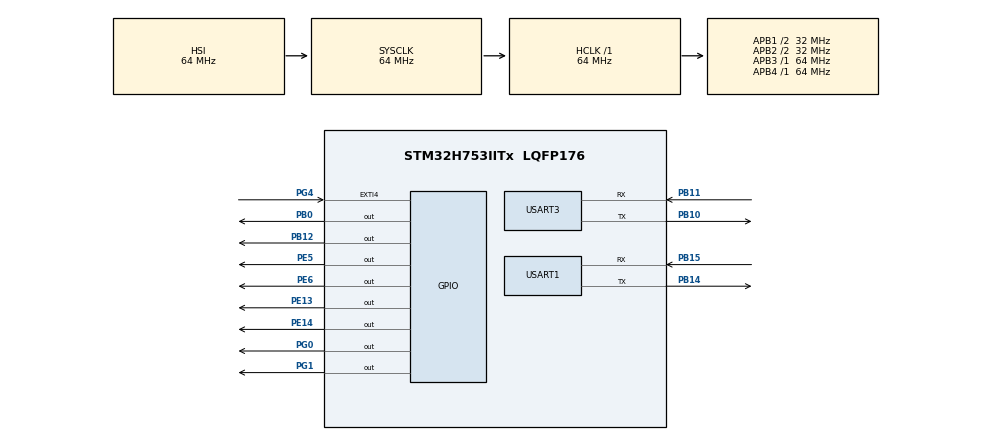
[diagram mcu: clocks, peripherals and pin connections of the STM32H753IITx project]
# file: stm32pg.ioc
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Mcu.Family=STM32H7
Mcu.Name=STM32H753IITx
Mcu.Package=LQFP176
NVIC.EXTI4_IRQn=true\:0\:0\:false\:false\:true\:true\:true\:true
NVIC.PriorityGroup=NVIC_PRIORITYGROUP_4
NVIC.TIM3_IRQn=true\:0\:0\:false\:false\:true\:true\:true\:true
NVIC.USART3_IRQn=true\:0\:0\:false\:false\:true\:true\:true\:true
PB0.GPIO_PuPd=GPIO_PULLUP
PB0.PinState=GPIO_PIN_SET
PB0.Signal=GPIO_Output
PB10.Mode=Asynchronous
PB10.Signal=USART3_TX
PB11.Mode=Asynchronous
PB11.Signal=USART3_RX
PB12.GPIO_PuPd=GPIO_PULLUP
PB12.Signal=GPIO_Output
PB14.Mode=Asynchronous
PB14.Signal=USART1_TX
PB15.Mode=Asynchronous
PB15.Signal=USART1_RX
PE13.GPIO_PuPd=GPIO_PULLUP
PE13.PinState=GPIO_PIN_SET
PE13.Signal=GPIO_Output
PE14.GPIO_PuPd=GPIO_PULLUP
PE14.PinState=GPIO_PIN_SET
PE14.Signal=GPIO_Output
PE5.GPIO_PuPd=GPIO_PULLUP
PE5.Signal=GPIO_Output
PE6.GPIO_PuPd=GPIO_PULLUP
PE6.Signal=GPIO_Output
PG0.GPIO_PuPd=GPIO_PULLUP
PG0.PinState=GPIO_PIN_SET
PG0.Signal=GPIO_Output
PG1.GPIO_PuPd=GPIO_PULLUP
PG1.PinState=GPIO_PIN_SET
PG1.Signal=GPIO_Output
PG4.GPIO_PuPd=GPIO_PULLDOWN
PG4.Signal=GPXTI4
ProjectManager.HeapSize=0x200
ProjectManager.StackSize=0x400
ProjectManager.TargetToolchain=STM32CubeIDE
RCC.ADCFreq_Value=129000000
RCC.APB1Freq_Value=32000000
RCC.APB2Freq_Value=32000000
RCC.APB3Freq_Value=64000000
RCC.APB4Freq_Value=64000000
RCC.CortexFreq_Value=64000000
RCC.D2PPRE1=RCC_APB1_DIV2
RCC.D2PPRE2=RCC_APB2_DIV2
RCC.DIVM1=4
RCC.DIVN1=9
RCC.DIVQ1=3
RCC.HCLKFreq_Value=64000000
RCC.PLLFRACN=3072
RCC.SYSCLKFreq_VALUE=64000000
RCC.USBFreq_Value=50000000
TIM3.Period=299
TIM3.Prescaler=19
USART1.VirtualMode-Asynchronous=VM_ASYNC
USART3.VirtualMode-Asynchronous=VM_ASYNC
VP_IWDG1_VS_IWDG.Mode=IWDG_Activate
VP_TIM1_VS_ClockSourceINT.Mode=Internal
VP_TIM2_VS_ClockSourceINT.Mode=Internal
VP_TIM3_VS_ClockSourceINT.Mode=Internal
board=custom

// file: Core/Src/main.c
/* USER CODE BEGIN Header */
/**
  ******************************************************************************
  * @file           : main.c
  * @brief          : Main program body
  ******************************************************************************
  * @attention
  *
  * Copyright (c) 2023 STMicroelectronics.
  * All rights reserved.
  *
  * This software is licensed under terms that can be found in the LICENSE file
  * in the root directory of this software component.
  * If no LICENSE file comes with this software, it is provided AS-IS.
  *
  ******************************************************************************
  */
/* USER CODE END Header */
#include "main.h"

IWDG_HandleTypeDef hiwdg1;

TIM_HandleTypeDef htim1;
TIM_HandleTypeDef htim2;
TIM_HandleTypeDef htim3;

UART_HandleTypeDef huart1;
UART_HandleTypeDef huart3;

/* USER CODE BEGIN PV */
static uint8_t machine_sta = 0;//machine status
static uint8_t plane_sta=1,spray_sta=1;
static uint8_t pul_sta=1,dir_sta=1,ena_sta=1;
static uint32_t set_speed = 10;//设定吸附轮转速为set_speed，单位r/min，减速机减速比为10， 电机输出轴转速为set_speed * 10
static uint32_t delay_period = 10000-1; //定时器延时周期数，一个周期0.1us

static uint8_t Gate1_seed_num = 0, Gate2_seed_num = 0;//seed number of each gate
static uint32_t receive_seed_num = 0b0;
static uint8_t receive_usart1[USART_REC_LEN_1];
static uint8_t receive_usart3[USART_REC_LEN_3];

static uint8_t LEDRED_Status= 0, LEDGREEN_Status = 0;

////FDCAN_TxHeaderTypeDef TxHeader;
//uint8_t *TxData;
//
////FDCAN_RxHeaderTypeDef RxHeader;
//uint8_t *RxData;
/* USER CODE END PV */

void SystemClock_Config(void);
static void MX_GPIO_Init(void);
static void MX_IWDG1_Init(void);
static void MX_TIM1_Init(void);
static void MX_TIM2_Init(void);
static void MX_USART1_UART_Init(void);
static void MX_USART3_UART_Init(void);
static void MX_TIM3_Init(void);
/* USER CODE BEGIN PFP */
void reload_tim1(uint32_t Period);//设置重装载的值，重新设置定时器时间

void motor_init();

uint32_t speed2Period(uint32_t speed);//speed r/min

void dif_fluoresent_seed(uint8_t num_Light_Gate2);

//uint8_t FDCAN1_Send_Msg(uint8_t * msg,uint32_t len);
//uint8_t FDCAN1_Receive_Msg(uint8_t *buf);
uint8_t Global_Status_set(uint8_t command);
/* USER CODE END PFP */

/* USER CODE BEGIN 0 */

#define Plane(n) (n ? HAL_GPIO_WritePin(GPIOG,GPIO_PIN_1,GPIO_PIN_SET): \
                HAL_GPIO_WritePin(GPIOG,GPIO_PIN_1,GPIO_PIN_RESET)) // plane PG1(挡板接口)

#define Spray_valve(n) (n ? HAL_GPIO_WritePin(GPIOG,GPIO_PIN_0,GPIO_PIN_SET): \
                HAL_GPIO_WritePin(GPIOG,GPIO_PIN_0,GPIO_PIN_RESET)) // Spray valve PG0(喷阀接口)

#define Light_Gate1 HAL_GPIO_ReadPin(GPIOA,GPIO_PIN_15) //Light_Gate1  PA15（光电门1信号）
#define Light_Gate2 HAL_GPIO_ReadPin(GPIOB,GPIO_PIN_3) //Light_Gate2  PB3（光电门2信号）

#define PUL_minus(n) (n ? HAL_GPIO_WritePin(GPIOE,GPIO_PIN_5,GPIO_PIN_SET): \
                HAL_GPIO_WritePin(GPIOE,GPIO_PIN_5,GPIO_PIN_RESET)) // Pulse signal PE5（电机脉冲信号）
#define overturn_PUL HAL_GPIO_TogglePin(GPIOE,GPIO_PIN_5) // 翻转电机脉冲信号
//#define DIR_minus(n) (n ? HAL_GPIO_WritePin(GPIOE,GPIO_PIN_6,GPIO_PIN_SET): \
//                HAL_GPIO_WritePin(GPIOE,GPIO_PIN_6,GPIO_PIN_RESET)) // Direction signal PE6, unuseful（正反转，弃用）
#define ENA_minus(n) (n ? HAL_GPIO_WritePin(GPIOB,GPIO_PIN_12,GPIO_PIN_SET): \
                HAL_GPIO_WritePin(GPIOB,GPIO_PIN_12,GPIO_PIN_RESET)) // Enable signal PB12（电机启停接口)
#define overturn_ENA HAL_GPIO_TogglePin(GPIOE,GPIO_PIN_12) // 翻转电机启停接口

#define led1 HAL_GPIO_TogglePin(GPIOE,GPIO_PIN_5) // LED1 PE5  通信指示灯
#define led2 HAL_GPIO_TogglePin(GPIOE,GPIO_PIN_6) // LED2 PE6 光电门1指示灯
#define led3 HAL_GPIO_TogglePin(GPIOB,GPIO_PIN_12) // LED3 PB12 光电门2指示灯
/* USER CODE END 0 */

int main(void)
{

  /* MCU Configuration--------------------------------------------------------*/

  /* Reset of all peripherals, Initializes the Flash interface and the Systick. */
  HAL_Init();

  /* Configure the system clock */
  SystemClock_Config();

  /* Initialize all configured peripherals */
  MX_GPIO_Init();
  MX_IWDG1_Init();
  MX_TIM1_Init();
  MX_TIM2_Init();
  MX_USART1_UART_Init();
  MX_USART3_UART_Init();
  MX_TIM3_Init();
  /* USER CODE BEGIN 2 */

    motor_init();
//    printf("Motor control, pul_sta = %d, ena_sta = %d\r\n",pul_sta,ena_sta);//实验
    HAL_UART_Transmit(&huart3, (uint8_t *)"\nMotor control, pul_sta = ", 26, 0xFFFF);
    HAL_UART_Transmit(&huart3, (uint8_t *)&pul_sta, 1, 0xFFFF);
    HAL_UART_Transmit(&huart3, (uint8_t *)", ena_sta = ", 12, 0xFFFF);
    HAL_UART_Transmit(&huart3, (uint8_t *)&ena_sta, 1, 0xFFFF);
    HAL_UART_Transmit(&huart3, (uint8_t *)"\n", 1, 0xFFFF);
//    HAL_UART_Receive_IT(&huart3, (uint8_t *)receive_usart3, USART_REC_LEN);
  /* USER CODE END 2 */

  /* Infinite loop */
  while (1)
  {

    /* USER CODE BEGIN 3 */
      HAL_IWDG_Refresh(&hiwdg1);
//      HAL_UART_Receive_IT(&huart3, (uint8_t *)receive_usart3, USART_REC_LEN);
  }
  /* USER CODE END 3 */
}

void SystemClock_Config(void)
{
  RCC_OscInitTypeDef RCC_OscInitStruct = {0};
  RCC_ClkInitTypeDef RCC_ClkInitStruct = {0};

  /** Supply configuration update enable
  */
  HAL_PWREx_ConfigSupply(PWR_LDO_SUPPLY);

  /** Configure the main internal regulator output voltage
  */
  __HAL_PWR_VOLTAGESCALING_CONFIG(PWR_REGULATOR_VOLTAGE_SCALE3);

  while(!__HAL_PWR_GET_FLAG(PWR_FLAG_VOSRDY)) {}

  /** Initializes the RCC Oscillators according to the specified parameters
  * in the RCC_OscInitTypeDef structure.
  */
  RCC_OscInitStruct.OscillatorType = RCC_OSCILLATORTYPE_HSI|RCC_OSCILLATORTYPE_LSI;
  RCC_OscInitStruct.HSIState = RCC_HSI_DIV1;
  RCC_OscInitStruct.HSICalibrationValue = RCC_HSICALIBRATION_DEFAULT;
  RCC_OscInitStruct.LSIState = RCC_LSI_ON;
  RCC_OscInitStruct.PLL.PLLState = RCC_PLL_NONE;
  if (HAL_RCC_OscConfig(&RCC_OscInitStruct) != HAL_OK)
  {
    Error_Handler();
  }

  /** Initializes the CPU, AHB and APB buses clocks
  */
  RCC_ClkInitStruct.ClockType = RCC_CLOCKTYPE_HCLK|RCC_CLOCKTYPE_SYSCLK
                              |RCC_CLOCKTYPE_PCLK1|RCC_CLOCKTYPE_PCLK2
                              |RCC_CLOCKTYPE_D3PCLK1|RCC_CLOCKTYPE_D1PCLK1;
  RCC_ClkInitStruct.SYSCLKSource = RCC_SYSCLKSOURCE_HSI;
  RCC_ClkInitStruct.SYSCLKDivider = RCC_SYSCLK_DIV1;
  RCC_ClkInitStruct.AHBCLKDivider = RCC_HCLK_DIV1;
  RCC_ClkInitStruct.APB3CLKDivider = RCC_APB3_DIV1;
  RCC_ClkInitStruct.APB1CLKDivider = RCC_APB1_DIV2;
  RCC_ClkInitStruct.APB2CLKDivider = RCC_APB2_DIV2;
  RCC_ClkInitStruct.APB4CLKDivider = RCC_APB4_DIV1;

  if (HAL_RCC_ClockConfig(&RCC_ClkInitStruct, FLASH_LATENCY_1) != HAL_OK)
  {
    Error_Handler();
  }
}

static void MX_IWDG1_Init(void)
{

  hiwdg1.Instance = IWDG1;
  hiwdg1.Init.Prescaler = IWDG_PRESCALER_4;
  hiwdg1.Init.Window = 4095;
  hiwdg1.Init.Reload = 4095;
  if (HAL_IWDG_Init(&hiwdg1) != HAL_OK)
  {
    Error_Handler();
  }

}

static void MX_TIM1_Init(void)
{

  /* USER CODE BEGIN TIM1_Init 0 */
//步进电机控制定时器
  /* USER CODE END TIM1_Init 0 */

  TIM_ClockConfigTypeDef sClockSourceConfig = {0};
  TIM_MasterConfigTypeDef sMasterConfig = {0};

  htim1.Instance = TIM1;
  htim1.Init.Prescaler = 0;
  htim1.Init.CounterMode = TIM_COUNTERMODE_UP;
  htim1.Init.Period = 65535;
  htim1.Init.ClockDivision = TIM_CLOCKDIVISION_DIV1;
  htim1.Init.RepetitionCounter = 0;
  htim1.Init.AutoReloadPreload = TIM_AUTORELOAD_PRELOAD_DISABLE;
  if (HAL_TIM_Base_Init(&htim1) != HAL_OK)
  {
    Error_Handler();
  }
  sClockSourceConfig.ClockSource = TIM_CLOCKSOURCE_INTERNAL;
  if (HAL_TIM_ConfigClockSource(&htim1, &sClockSourceConfig) != HAL_OK)
  {
    Error_Handler();
  }
  sMasterConfig.MasterOutputTrigger = TIM_TRGO_RESET;
  sMasterConfig.MasterOutputTrigger2 = TIM_TRGO2_RESET;
  sMasterConfig.MasterSlaveMode = TIM_MASTERSLAVEMODE_DISABLE;
  if (HAL_TIMEx_MasterConfigSynchronization(&htim1, &sMasterConfig) != HAL_OK)
  {
    Error_Handler();
  }
  /* USER CODE BEGIN TIM1_Init 2 */

    HAL_TIM_Base_Start_IT(&htim1);
  /* USER CODE END TIM1_Init 2 */

}

static void MX_TIM2_Init(void)
{

  /* USER CODE BEGIN TIM2_Init 0 */
//喷阀启动定时器
  /* USER CODE END TIM2_Init 0 */

  TIM_ClockConfigTypeDef sClockSourceConfig = {0};
  TIM_MasterConfigTypeDef sMasterConfig = {0};

  htim2.Instance = TIM2;
  htim2.Init.Prescaler = 0;
  htim2.Init.CounterMode = TIM_COUNTERMODE_UP;
  htim2.Init.Period = 4294967295;
  htim2.Init.ClockDivision = TIM_CLOCKDIVISION_DIV1;
  htim2.Init.AutoReloadPreload = TIM_AUTORELOAD_PRELOAD_DISABLE;
  if (HAL_TIM_Base_Init(&htim2) != HAL_OK)
  {
    Error_Handler();
  }
  sClockSourceConfig.ClockSource = TIM_CLOCKSOURCE_INTERNAL;
  if (HAL_TIM_ConfigClockSource(&htim2, &sClockSourceConfig) != HAL_OK)
  {
    Error_Handler();
  }
  sMasterConfig.MasterOutputTrigger = TIM_TRGO_RESET;
  sMasterConfig.MasterSlaveMode = TIM_MASTERSLAVEMODE_DISABLE;
  if (HAL_TIMEx_MasterConfigSynchronization(&htim2, &sMasterConfig) != HAL_OK)
  {
    Error_Handler();
  }
  /* USER CODE BEGIN TIM2_Init 2 */

    HAL_TIM_Base_Start_IT(&htim2);
  /* USER CODE END TIM2_Init 2 */

}

static void MX_TIM3_Init(void)
{

  TIM_ClockConfigTypeDef sClockSourceConfig = {0};
  TIM_MasterConfigTypeDef sMasterConfig = {0};

  htim3.Instance = TIM3;
  htim3.Init.Prescaler = 19;
  htim3.Init.CounterMode = TIM_COUNTERMODE_UP;
  htim3.Init.Period = 299;
  htim3.Init.ClockDivision = TIM_CLOCKDIVISION_DIV1;
  htim3.Init.AutoReloadPreload = TIM_AUTORELOAD_PRELOAD_DISABLE;
  if (HAL_TIM_Base_Init(&htim3) != HAL_OK)
  {
    Error_Handler();
  }
  sClockSourceConfig.ClockSource = TIM_CLOCKSOURCE_INTERNAL;
  if (HAL_TIM_ConfigClockSource(&htim3, &sClockSourceConfig) != HAL_OK)
  {
    Error_Handler();
  }
  sMasterConfig.MasterOutputTrigger = TIM_TRGO_RESET;
  sMasterConfig.MasterSlaveMode = TIM_MASTERSLAVEMODE_DISABLE;
  if (HAL_TIMEx_MasterConfigSynchronization(&htim3, &sMasterConfig) != HAL_OK)
  {
    Error_Handler();
  }
  /* USER CODE BEGIN TIM3_Init 2 */

    HAL_TIM_Base_Start_IT(&htim3);  //开启定时器3中断
  /* USER CODE END TIM3_Init 2 */

}

static void MX_USART1_UART_Init(void)
{

  huart1.Instance = USART1;
  huart1.Init.BaudRate = 115200;
  huart1.Init.WordLength = UART_WORDLENGTH_8B;
  huart1.Init.StopBits = UART_STOPBITS_1;
  huart1.Init.Parity = UART_PARITY_NONE;
  huart1.Init.Mode = UART_MODE_TX_RX;
  huart1.Init.HwFlowCtl = UART_HWCONTROL_NONE;
  huart1.Init.OverSampling = UART_OVERSAMPLING_16;
  huart1.Init.OneBitSampling = UART_ONE_BIT_SAMPLE_DISABLE;
  huart1.Init.ClockPrescaler = UART_PRESCALER_DIV1;
  huart1.AdvancedInit.AdvFeatureInit = UART_ADVFEATURE_NO_INIT;
  if (HAL_UART_Init(&huart1) != HAL_OK)
  {
    Error_Handler();
  }
  if (HAL_UARTEx_SetTxFifoThreshold(&huart1, UART_TXFIFO_THRESHOLD_1_8) != HAL_OK)
  {
    Error_Handler();
  }
  if (HAL_UARTEx_SetRxFifoThreshold(&huart1, UART_RXFIFO_THRESHOLD_1_8) != HAL_OK)
  {
    Error_Handler();
  }
  if (HAL_UARTEx_DisableFifoMode(&huart1) != HAL_OK)
  {
    Error_Handler();
  }
  /* USER CODE BEGIN USART1_Init 2 */
    HAL_UART_Receive_IT(&huart1, (uint8_t *)receive_usart1, USART_REC_LEN_1);
  /* USER CODE END USART1_Init 2 */

}

static void MX_USART3_UART_Init(void)
{

  huart3.Instance = USART3;
  huart3.Init.BaudRate = 115200;
  huart3.Init.WordLength = UART_WORDLENGTH_8B;
  huart3.Init.StopBits = UART_STOPBITS_1;
  huart3.Init.Parity = UART_PARITY_NONE;
  huart3.Init.Mode = UART_MODE_TX_RX;
  huart3.Init.HwFlowCtl = UART_HWCONTROL_NONE;
  huart3.Init.OverSampling = UART_OVERSAMPLING_16;
  huart3.Init.OneBitSampling = UART_ONE_BIT_SAMPLE_DISABLE;
  huart3.Init.ClockPrescaler = UART_PRESCALER_DIV1;
  huart3.AdvancedInit.AdvFeatureInit = UART_ADVFEATURE_NO_INIT;
  if (HAL_UART_Init(&huart3) != HAL_OK)
  {
    Error_Handler();
  }
  if (HAL_UARTEx_SetTxFifoThreshold(&huart3, UART_TXFIFO_THRESHOLD_1_8) != HAL_OK)
  {
    Error_Handler();
  }
  if (HAL_UARTEx_SetRxFifoThreshold(&huart3, UART_RXFIFO_THRESHOLD_1_8) != HAL_OK)
  {
    Error_Handler();
  }
  if (HAL_UARTEx_DisableFifoMode(&huart3) != HAL_OK)
  {
    Error_Handler();
  }
  /* USER CODE BEGIN USART3_Init 2 */

    HAL_UART_Receive_IT(&huart3, (uint8_t *)receive_usart3, USART_REC_LEN_3);
  /* USER CODE END USART3_Init 2 */

}

static void MX_GPIO_Init(void)
{
  GPIO_InitTypeDef GPIO_InitStruct = {0};

  /* GPIO Ports Clock Enable */
  __HAL_RCC_GPIOE_CLK_ENABLE();
  __HAL_RCC_GPIOB_CLK_ENABLE();
  __HAL_RCC_GPIOG_CLK_ENABLE();

  /*Configure GPIO pin Output Level */
  HAL_GPIO_WritePin(GPIOE, GPIO_PIN_5|GPIO_PIN_6, GPIO_PIN_RESET);

  /*Configure GPIO pin Output Level */
  HAL_GPIO_WritePin(GPIOB, GPIO_PIN_0, GPIO_PIN_SET);

  /*Configure GPIO pin Output Level */
  HAL_GPIO_WritePin(GPIOG, GPIO_PIN_0|GPIO_PIN_1, GPIO_PIN_SET);

  /*Configure GPIO pin Output Level */
  HAL_GPIO_WritePin(GPIOE, GPIO_PIN_13|GPIO_PIN_14, GPIO_PIN_SET);

  /*Configure GPIO pin Output Level */
  HAL_GPIO_WritePin(GPIOB, GPIO_PIN_12, GPIO_PIN_RESET);

  /*Configure GPIO pins : PE5 PE6 PE13 PE14 */
  GPIO_InitStruct.Pin = GPIO_PIN_5|GPIO_PIN_6|GPIO_PIN_13|GPIO_PIN_14;
  GPIO_InitStruct.Mode = GPIO_MODE_OUTPUT_PP;
  GPIO_InitStruct.Pull = GPIO_PULLUP;
  GPIO_InitStruct.Speed = GPIO_SPEED_FREQ_LOW;
  HAL_GPIO_Init(GPIOE, &GPIO_InitStruct);

  /*Configure GPIO pins : PB0 PB12 */
  GPIO_InitStruct.Pin = GPIO_PIN_0|GPIO_PIN_12;
  GPIO_InitStruct.Mode = GPIO_MODE_OUTPUT_PP;
  GPIO_InitStruct.Pull = GPIO_PULLUP;
  GPIO_InitStruct.Speed = GPIO_SPEED_FREQ_LOW;
  HAL_GPIO_Init(GPIOB, &GPIO_InitStruct);

  /*Configure GPIO pins : PG0 PG1 */
  GPIO_InitStruct.Pin = GPIO_PIN_0|GPIO_PIN_1;
  GPIO_InitStruct.Mode = GPIO_MODE_OUTPUT_PP;
  GPIO_InitStruct.Pull = GPIO_PULLUP;
  GPIO_InitStruct.Speed = GPIO_SPEED_FREQ_LOW;
  HAL_GPIO_Init(GPIOG, &GPIO_InitStruct);

  /*Configure GPIO pin : PG4 */
  GPIO_InitStruct.Pin = GPIO_PIN_4;
  GPIO_InitStruct.Mode = GPIO_MODE_IT_RISING;
  GPIO_InitStruct.Pull = GPIO_PULLDOWN;
  HAL_GPIO_Init(GPIOG, &GPIO_InitStruct);

  /* EXTI interrupt init*/
  HAL_NVIC_SetPriority(EXTI4_IRQn, 0, 0);
  HAL_NVIC_EnableIRQ(EXTI4_IRQn);

}

/* USER CODE BEGIN 4 */
void HAL_GPIO_EXTI_Callback(uint16_t GPIO_Pin)
{
    switch (GPIO_Pin) {
        case GPIO_PIN_15: {//light gate1 detect
            if (Light_Gate1 == 0) {
//                printf("No. %d passed! \r\n",Gate1_seed_num); //重定向仅作实验用
                HAL_UART_Transmit(&huart3, (uint8_t *)"Gate1 Number ", 13, 0xFFFF);
                HAL_UART_Transmit(&huart3, (uint8_t *)(&Gate1_seed_num), 1, 0xFFFF);
                HAL_UART_Transmit(&huart3, (uint8_t *)"seed passed!\n", 13, 0xFFFF);
                ++Gate1_seed_num;
                if(Gate1_seed_num > 32)
                {
                    Gate1_seed_num = 1;
                }
            }
            break;
        }case GPIO_PIN_3: {//light gate2 detect
            if (Light_Gate2 == 0) {
//                printf("No. %d passed\r\n",Gate2_seed_num); //重定向仅作实验用
                HAL_UART_Transmit(&huart3, (uint8_t *)"\nGate2 Number ", 14, 0xFFFF);
                HAL_UART_Transmit(&huart3, (uint8_t *)(&Gate1_seed_num), 1, 0xFFFF);
                HAL_UART_Transmit(&huart3, (uint8_t *)"seed passed!\n", 13, 0xFFFF);
                led3;//光电门2指示灯
                if((Gate2_seed_num > Gate1_seed_num) & (receive_seed_num>>Gate2_seed_num)) //判断是否为同意轮次的编号
                {
//                    printf("Error, Gate2_seed_num > Gate1_seed_num\r\n");//重定向仅作实验用
                    HAL_UART_Transmit(&huart3, (uint8_t *)"Error, Gate2_seed_num > Gate1_seed_num\n", 39, 0xFFFF);
                    break;
                }
                dif_fluoresent_seed(Gate2_seed_num);
                ++Gate2_seed_num;
                if(Gate2_seed_num > 32)
                {
                    Gate2_seed_num = 1;
                    receive_seed_num=0b0;
                }
            }
            break;
        }
//        case GPIO_PIN_13: {//key2
//            if (KEY2 == 0) {// start/pause the motor,disable
//                printf("key2 is touched, motor status changes\r\n");
//                ena_sta = !ena_sta;
//                ENA_minus(ena_sta);
//                LED0RED(ena_sta);
//                LED1GREEN(!ena_sta);
//                printf("ena_sta is %d\r\n",ena_sta);
//            }
//            break;
//        }//key2调试使用
        default:
            break;
    }
}

void HAL_UART_RxCpltCallback(UART_HandleTypeDef *huart) {
    if(huart->Instance==USART1)//如果是串口1//串口1接收中断，接收来自的信息格式：从左往右共三位，第一、二位为荧光种子编号，第三位为回车
    {
        if(receive_usart1[2] == 0xd)//如果接收到的数据是回车
        {
            if( receive_usart1[0]>='0' && receive_usart1[0]<='9' &&receive_usart1[1]>= '0' && receive_usart1[1]<='9')
            {
                receive_usart1[2] = '\0';
                uint8_t temp = (receive_usart1[0]-'0')*10 + (receive_usart1[1]-'0');
//                printf("receive_usart3 = %s\r\n",receive_usart3);//重定向仅作实验用
                receive_seed_num=receive_seed_num|(0b1<<(temp-1));
                led2;//与TX2连接的LED
//                reload_tim3(speed2Period(set_speed));//设置脉冲信号频率，不能在此处设置，可能定时器处于工作中期
            }
        }
        HAL_UART_Receive_IT(&huart1, (uint8_t*)receive_usart1, USART_REC_LEN_1);
    }
    if(huart->Instance==USART3)//如果是串口3//串口3接收中断，接收来自工控屏的信息格式：从左往右共三位，第一位：状态（0：启动，1：暂停，2：终止），第二、三位为吸附轮速度，第四位为回车
    {
        if(receive_usart3[3] == 0xd)//如果接收到的数据是回车
        {
            if(Global_Status_set(receive_usart3[0] != '0'))
            {
//                printf("Status stop/pause!");//重定向仅作实验用
                HAL_UART_Transmit(&huart3, (uint8_t *)"\nStatus stop/pause!\n", 20, 0xFFFF);
            }
            else
            if( receive_usart3[1]>='0' && receive_usart3[1]<='9' &&receive_usart3[2]>= '0' && receive_usart3[2]<='9')
            {
                receive_usart3[3] = '\0';
//                printf("receive_usart3 = %s\r\n",receive_usart3);//重定向仅作实验用
                HAL_UART_Transmit(&huart3, (uint8_t *)"\nreceive_usart3 = ", 18, 0xFFFF);
                HAL_UART_Transmit(&huart3, (uint8_t *)receive_usart3, 4, 0xFFFF);
                HAL_UART_Transmit(&huart3, (uint8_t *)"\n", 1, 0xFFFF);
                set_speed = (receive_usart3[0]-'0')*10 + (receive_usart3[1]-'0');
                led1;//与上位机通信指示灯
//                reload_tim3(speed2Period(set_speed));//设置脉冲信号频率，不能在此处设置，可能定时器处于工作中期
            }
        }
        HAL_UART_Receive_IT(&huart3, (uint8_t*)receive_usart3, USART_REC_LEN_3);
    }
}

void HAL_TIM_PeriodElapsedCallback(TIM_HandleTypeDef *htim)//脉冲信号定时器中断
{
    if(htim==(&htim3) && ena_sta == 1)//送出脉冲信号
    {
          overturn_PUL;
//        PUL_minus(pul_sta);
//        pul_sta = !pul_sta;
        reload_tim1(speed2Period(set_speed));//周期结束重设定时器
    }
}

//void HAL_FDCAN_RxFifo0Callback(FDCAN_HandleTypeDef *hfdcan, uint32_t RxFifo0ITs)
//{
//    if(hfdcan == &hfdcan1) {//如果是CAN1,接收上位机发送的荧光种子代码，格式：从左往右数共三位，第一、二位：荧光种子代码，第三位为回车
//        if ((RxFifo0ITs & FDCAN_IT_RX_FIFO0_NEW_MESSAGE) != RESET) {
//            Error_Handler();
//        }
//        uint8_t buf[8];
//        uint8_t len;
//        len = FDCAN1_Receive_Msg(buf);
//        if (len) {
//            printf("receive data from can success\r\n");
//            uint8_t temp_num;
//            if (buf[2] == 0xd && buf[0] >= '0' && buf[0] <= '9'
//                && buf[1] >= '0' && buf[1] <= '9')//如果接收到的数据是回车
//            {
//                buf[2] = '\0';
//                printf("receive_can = %s\r\n", buf);
//                temp_num = (buf[0] - '0') * 10 + (buf[1] - '0');
//                if (temp_num <= 32 && temp_num > 0) {
//                    receive_seed_num |= (0b1 << (temp_num - 1));
//                    printf("receive_seed_num = %lu\r\n", receive_seed_num);
//                }
//            }
//        }
//    }
//}

uint32_t speed2Period(uint32_t speed)//speed 1r/min == 1/60000r/ms, 1ms = 1000 us
{
    if(speed==0)
    {
        return 1000 - 1;
    }
    uint16_t step = 6400; //check figure, current status is sw5 off, sw6 on, sw7 off, sw8 on.
    delay_period =(uint32_t)(10e7 * 60.0 / (step * speed * 10.0) + 0.5);//0.1us为一个单位
    if(delay_period < 31) //最短周期为3us
        delay_period = 31;
    return delay_period - 1;
}//速度转为脉冲信号周期

void motor_init()
{
    PUL_minus(pul_sta);
    ENA_minus(ena_sta);
}

void reload_tim1(uint32_t Period)//Tout溢出时间us = (Prescaler+1) / Tlck *10000000us * (Period+1); Tlck= 200Mhz
{
    htim1.Init.Period = Period;//周期数，计时周期数+1，即多少1us = （199+1）/200Mhz * 1000000000us
}

void dif_fluoresent_seed(uint8_t num_Light_Gate2)
{
    uint8_t temp = 0b1;
    temp = temp<<num_Light_Gate2;
    if(receive_seed_num&temp)
    {
        spray_sta = 1;
        Spray_valve(spray_sta);
        printf("Match successfully!\r\n");//use Spray valve here
    }
    else
    {
        printf("Fail to match seed!\r\n");
        spray_sta = 0;
    }
}

//uint8_t FDCAN1_Send_Msg(uint8_t * msg,uint32_t len)
//{
//    TxHeader.Identifier=0x12;                           //32位ID
//    TxHeader.IdType=FDCAN_STANDARD_ID;                  //标准ID
//    TxHeader.TxFrameType=FDCAN_DATA_FRAME;              //数据帧
//    TxHeader.DataLength=len;                            //数据长度
//    TxHeader.ErrorStateIndicator=FDCAN_ESI_ACTIVE;
//    TxHeader.BitRateSwitch=FDCAN_BRS_OFF;               //关闭速率切换
//    TxHeader.FDFormat=FDCAN_CLASSIC_CAN;                //传统的CAN模式
//    TxHeader.TxEventFifoControl=FDCAN_NO_TX_EVENTS;     //无发送事件
//    TxHeader.MessageMarker=0;
//
//    if(HAL_FDCAN_AddMessageToTxFifoQ(&hfdcan1,&TxHeader,msg)!=HAL_OK) return 1;//发送
//    return 0;
//}
//uint8_t FDCAN1_Receive_Msg(uint8_t *buf)
//{
//    if(HAL_FDCAN_GetRxMessage(&hfdcan1,FDCAN_RX_FIFO0,&RxHeader,buf)!=HAL_OK)
//        return 0;//接收数据
//    return RxHeader.DataLength>>16;
//}

uint8_t Global_Status_set(uint8_t command)
{
    switch (command) {
        case 0:{
            ENA_minus(1);
        }
        case 1:{
            ENA_minus(0);
        }
        case 2:{
            if(Gate1_seed_num && Gate2_seed_num == 0)//if Gate1 and Gate2 are empty for a while, then stop the motor
                ENA_minus(0);
        }
    }
    return command;
}
/* USER CODE END 4 */

void Error_Handler(void)
{
  __disable_irq();
  while (1)
  {
  }
}
